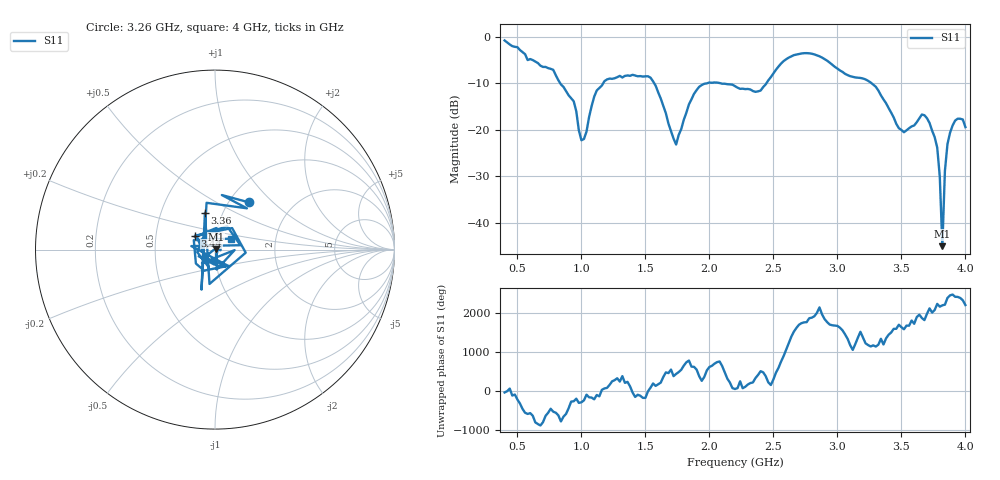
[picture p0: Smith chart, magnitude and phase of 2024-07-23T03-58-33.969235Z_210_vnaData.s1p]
!Created with skrf (http://scikit-rf.org).
# Hz S RI R 50.0
!freq ReS11 ImS11
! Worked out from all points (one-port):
!   181 points, 400 MHz to 4 GHz, reference 50 ohm
!   lowest |S11| = -45.0 dB at 3.82 GHz (marker M1), VSWR 1.01, Z = 50.5 + j0.261 ohm
!   |S11| at or under -10 dB: 1.569 GHz to 1.98 GHz (410.8 MHz wide, 23.1 % of centre); 2.09 GHz to 2.445 GHz (355 MHz wide, 15.7 % of centre); 3.268 GHz to end of sweep (the widest 3 of 4)
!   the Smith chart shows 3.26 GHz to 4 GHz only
!   S11 on the Smith chart (normalised r, x): 3.26 GHz: 1.23, +0.72; 3.36 GHz: 0.82, +0.35; 3.44 GHz: 0.79, +0.12; 4 GHz: 1.18, +0.15
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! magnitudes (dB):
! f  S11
! 400 MHz  -0.8
! 780 MHz  -7.1
! 860 MHz  -10.8
! 940 MHz  -13.8
! 1 GHz  -22.2
! 1.12 GHz  -11.5
! 1.3 GHz  -8.4
! 1.54 GHz  -8.8
! 1.74 GHz  -23.1
! 1.76 GHz  -21.1
! 1.92 GHz  -10.7
! 2.2 GHz  -10.6
! 2.4 GHz  -11.5
! 2.66 GHz  -3.9
! 3.1 GHz  -8.5
! 3.26 GHz  -9.8
! 3.36 GHz  -13.4
! 3.44 GHz  -17.3
! 3.56 GHz  -19.6
! 3.68 GHz  -16.8
! 3.76 GHz  -21.6
! 3.78 GHz  -23.8
! 3.8 GHz  -30.1
! 3.82 GHz  -45.0
! 3.84 GHz  -28.8
! 3.86 GHz  -23.0
! 3.92 GHz  -18.0
! 4 GHz  -19.4
